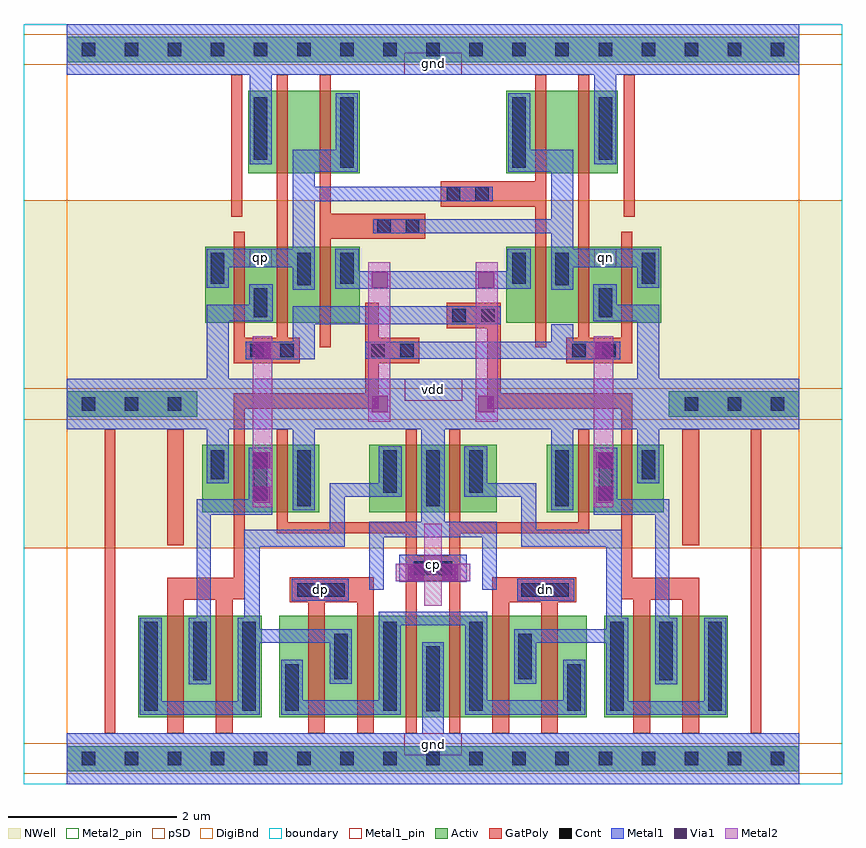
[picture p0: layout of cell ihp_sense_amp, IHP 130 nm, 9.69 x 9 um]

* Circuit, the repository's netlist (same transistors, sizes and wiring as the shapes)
* ------------------------------------------------------
*
*		Copyright 2025 IHP PDK Authors
*
*		Licensed under the Apache License, Version 2.0 (the "License");
*		you may not use this file except in compliance with the License.
*		You may obtain a copy of the License at
*
*		   https://www.apache.org/licenses/LICENSE-2.0
*
*		Unless required by applicable law or agreed to in writing, software
*		distributed under the License is distributed on an "AS IS" BASIS,
*		WITHOUT WARRANTIES OR CONDITIONS OF ANY KIND, either express or implied.
*		See the License for the specific language governing permissions and
*		limitations under the License.
*
*		Generated on Thu Jul 30 11:38:32 2026
*
* ------------------------------------------------------
* Flattened from RSC_IHPSG13_DFPQD_MSAFFX2; unchanged W/L/m.
.subckt ihp_sense_amp cp dn dp qn qp vdd gnd
Xinternal_MN12 internal_SN internal_RN internal_DIFFP gnd sg13_lv_nmos w=2.4u l=200.0n m=1
Xinternal_MN13 internal_TAIL cp gnd gnd sg13_lv_nmos w=2.4u l=130.00n m=1
Xinternal_MN9 internal_DIFFP dp internal_TAIL gnd sg13_lv_nmos w=2.4u l=200.0n m=1
Xinternal_MN10 internal_DIFFN dn internal_TAIL gnd sg13_lv_nmos w=2.4u l=200.0n m=1
Xinternal_MN11 internal_RN internal_SN internal_DIFFN gnd sg13_lv_nmos w=2.4u l=200.0n m=1
Xinternal_MN19 internal_net33 internal_SN gnd gnd sg13_lv_nmos w=980.00n l=130.00n m=1
Xinternal_MN20 qn qp internal_net37 gnd sg13_lv_nmos w=980.00n l=130.00n m=1
Xinternal_MN18 internal_net37 internal_RN gnd gnd sg13_lv_nmos w=980.00n l=130.00n m=1
Xinternal_MN17 qp qn internal_net33 gnd sg13_lv_nmos w=980.00n l=130.00n m=1
Xinternal_MP15 internal_SN internal_RN vdd vdd sg13_lv_pmos w=800.0n l=130.00n m=1
Xinternal_MP16 internal_RN cp vdd vdd sg13_lv_pmos w=800.0n l=130.00n m=1
Xinternal_MP14 internal_DIFFP cp vdd vdd sg13_lv_pmos w=800.0n l=130.00n m=1
Xinternal_MP12 internal_RN internal_SN vdd vdd sg13_lv_pmos w=800.0n l=130.00n m=1
Xinternal_MP13 internal_DIFFN cp vdd vdd sg13_lv_pmos w=800.0n l=130.00n m=1
Xinternal_MP11 internal_SN cp vdd vdd sg13_lv_pmos w=800.0n l=130.00n m=1
Xinternal_MP19 qn qp vdd vdd sg13_lv_pmos w=900.0n l=130.00n m=1
Xinternal_MP20 qp internal_SN vdd vdd sg13_lv_pmos w=1.8u l=130.00n m=1
Xinternal_MP18 qn internal_RN vdd vdd sg13_lv_pmos w=1.8u l=130.00n m=1
Xinternal_MP17 qp qn vdd vdd sg13_lv_pmos w=900.0n l=130.00n m=1
.ends ihp_sense_amp

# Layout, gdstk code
import gdstk
lib = gdstk.Library(unit=1e-6, precision=1e-09)
def R(c, l, rs):  # rectangles x0, y0, x1, y1
    for r in rs: c.add(gdstk.rectangle(r[:2], r[2:], *l))
def A(c, l, x, y, w, h, nx, ny, dx, dy):  # array of equal rectangles
    R(c, l, [(x+i*dx, y+j*dy, x+i*dx+w, y+j*dy+h) for i in range(nx) for j in range(ny)])
def P(c, l, *ps):  # polygons
    for p in ps: c.add(gdstk.Polygon(p, *l))
Activ = (1, 0)
GatPoly = (5, 0)
Cont = (6, 0)
Metal1 = (8, 0)
Metal1_pin = (8, 2)
Metal2 = (10, 0)
Metal2_pin = (10, 2)
pSD = (14, 0)
DigiBnd = (16, 0)
Via1 = (19, 0)
NWell = (31, 0)
boundary = (189, 4)

ihp_sense_amp = lib.new_cell('ihp_sense_amp')
R(ihp_sense_amp, Activ, [(0.51,0.15,9.18,0.45), (1.355,0.79,2.815,1.99), (3.025,0.79,6.665,1.99), (6.875,0.79,8.335,1.99), (2.11,3.22,3.5,4.02), (4.09,3.22,5.6,4.02), (6.19,3.22,7.58,4.02), (0.51,4.35,2.055,4.65), (7.635,4.35,9.18,4.65), (2.145,5.46,3.975,6.36), (5.715,5.46,7.545,6.36), (2.655,7.23,3.975,8.21), (5.715,7.23,7.035,8.21), (0.51,8.55,9.18,8.85)])
R(ihp_sense_amp, GatPoly, [(0.955,0.6,1.085,4.2), (8.605,0.6,8.735,4.2), (1.695,2.825,1.895,4.2), (7.795,2.825,7.995,4.2), (2.455,6.72,2.585,8.4), (7.105,6.72,7.235,8.4)])
P(ihp_sense_amp, GatPoly, [(3.365,0.6),(3.365,2.15),(3.15,2.15),(3.15,2.45),(4.145,2.45),(4.145,0.6),(3.945,0.6),(3.945,2.15),(3.565,2.15),(3.565,0.6)],
  [(5.545,0.6),(5.545,2.45),(6.54,2.45),(6.54,2.15),(6.325,2.15),(6.325,0.6),(6.125,0.6),(6.125,2.15),(5.745,2.15),(5.745,0.6)],
  [(4.525,0.6),(4.525,2.97),(2.995,2.97),(2.995,4.2),(3.125,4.2),(3.125,3.1),(4.525,3.1),(4.525,4.2),(4.655,4.2),(4.655,2.705),(5.035,2.705),(5.035,4.2),(5.165,4.2),(5.165,3.1),(6.565,3.1),(6.565,4.2),(6.695,4.2),(6.695,2.97),(5.165,2.97),(5.165,0.6),(5.035,0.6),(5.035,2.405),(4.655,2.405),(4.655,0.6)],
  [(1.695,0.6),(1.695,2.445),(2.485,2.445),(2.485,4.625),(4.045,4.625),(4.045,5.7),(4.205,5.7),(4.205,5.285),(4.685,5.285),(4.685,4.985),(4.205,4.985),(4.205,4.445),(2.615,4.445),(2.615,2.19),(2.475,2.19),(2.475,0.6),(2.275,0.6),(2.275,2.18),(1.895,2.18),(1.895,0.6)],
  [(7.215,0.6),(7.215,2.19),(7.075,2.19),(7.075,4.445),(5.485,4.445),(5.485,5.4),(5.005,5.4),(5.005,5.7),(5.645,5.7),(5.645,4.625),(7.205,4.625),(7.205,2.445),(7.995,2.445),(7.995,0.6),(7.795,0.6),(7.795,2.18),(7.415,2.18),(7.415,0.6)],
  [(2.485,4.985),(2.485,6.54),(2.615,6.54),(2.615,5.285),(2.995,5.285),(2.995,8.4),(3.125,8.4),(3.125,5.285),(3.265,5.285),(3.265,4.985)],
  [(3.505,5.175),(3.505,8.4),(3.635,8.4),(3.635,6.755),(4.755,6.755),(4.755,6.455),(3.635,6.455),(3.635,5.175)],
  [(6.055,5.175),(6.055,6.835),(4.935,6.835),(4.935,7.135),(6.055,7.135),(6.055,8.4),(6.185,8.4),(6.185,5.175)],
  [(6.425,4.985),(6.425,5.285),(6.565,5.285),(6.565,8.4),(6.695,8.4),(6.695,5.285),(7.075,5.285),(7.075,6.54),(7.205,6.54),(7.205,4.985)])
A(ihp_sense_amp, Cont, 0.685, 0.22, 0.16, 0.16, 17, 2, 0.51, 8.4)
A(ihp_sense_amp, Cont, 3.235, 3.29, 0.16, 0.66, 3, 1, 1.53, 0)
A(ihp_sense_amp, Cont, 0.685, 4.42, 0.16, 0.16, 3, 1, 0.51, 0)
A(ihp_sense_amp, Cont, 7.825, 4.42, 0.16, 0.16, 3, 1, 0.51, 0)
R(ihp_sense_amp, Cont, [(4.765,0.86,4.925,1.63), (1.425,0.87,1.585,1.92), (2.585,0.87,2.745,1.92), (3.095,0.87,3.255,1.42), (4.255,0.87,4.415,1.92), (5.275,0.87,5.435,1.92), (6.435,0.87,6.595,1.42), (6.945,0.87,7.105,1.92), (8.105,0.87,8.265,1.92), (2.005,1.23,2.165,1.92), (7.525,1.23,7.685,1.92), (3.675,1.24,3.835,1.78), (5.855,1.24,6.015,1.78), (3.235,2.22,3.8,2.38), (5.89,2.22,6.455,2.38), (4.615,2.475,5.075,2.635), (2.725,3.355,2.885,3.93), (6.805,3.355,6.965,3.93), (4.255,3.45,4.415,3.95), (5.275,3.45,5.435,3.95), (2.215,3.61,2.375,3.95), (7.315,3.61,7.475,3.95), (2.68,5.055,2.84,5.215), (3.035,5.055,3.195,5.215), (4.115,5.055,4.275,5.215), (4.455,5.055,4.615,5.215), (6.495,5.055,6.655,5.215), (6.85,5.055,7.01,5.215), (5.075,5.47,5.235,5.63), (5.415,5.47,5.575,5.63), (2.725,5.53,2.885,5.87), (6.805,5.53,6.965,5.87), (3.235,5.905,3.395,6.29), (6.295,5.905,6.455,6.29), (2.215,5.925,2.375,6.29), (3.745,5.925,3.905,6.29), (5.785,5.925,5.945,6.29), (7.315,5.925,7.475,6.29), (4.185,6.525,4.345,6.685), (4.525,6.525,4.685,6.685), (5.005,6.905,5.165,7.065), (5.345,6.905,5.505,7.065), (3.745,7.3,3.905,8.13), (5.785,7.3,5.945,8.13), (2.725,7.39,2.885,8.13), (6.805,7.39,6.965,8.13)])
A(ihp_sense_amp, Metal1, 0.51, 0, 8.67, 0.6, 1, 3, 0, 4.2)
R(ihp_sense_amp, Metal1, [(4.715,0.6,4.975,1.68), (1.375,0.82,2.795,0.98), (3.045,0.82,4.465,0.99), (5.225,0.82,6.645,0.99), (6.895,0.82,8.315,0.98), (1.375,0.98,1.635,1.97), (2.535,0.98,2.795,1.67), (6.895,0.98,7.155,1.67), (8.055,0.98,8.315,1.97), (3.045,0.99,3.305,1.47), (4.205,0.99,4.465,1.88), (5.225,0.99,5.485,1.88), (6.385,0.99,6.645,1.47), (1.955,1.18,2.215,1.97), (7.475,1.18,7.735,1.97), (3.625,1.19,3.885,1.67), (5.805,1.19,6.065,1.67), (2.535,1.67,3.885,1.83), (5.805,1.67,7.155,1.83), (2.535,1.83,2.795,1.97), (6.895,1.83,7.155,1.97), (4.205,1.88,5.485,2.04), (2.05,1.97,2.215,3.19), (2.61,1.97,2.795,2.81), (6.895,1.97,7.08,2.81), (7.475,1.97,7.64,3.19), (3.17,2.17,3.85,2.43), (5.84,2.17,6.52,2.43), (4.09,2.3,4.26,2.925), (5.43,2.3,5.6,2.925), (4.445,2.395,5.245,2.715), (2.61,2.81,3.8,3.01), (5.89,2.81,7.08,3.01), (4.09,2.925,5.6,3.105), (3.625,3.01,3.8,3.4), (5.89,3.01,6.065,3.4), (4.705,3.105,4.985,4.2), (2.05,3.19,2.94,3.37), (6.75,3.19,7.64,3.37), (3.185,3.24,3.445,4.2), (6.245,3.24,6.505,4.2), (2.665,3.37,2.94,3.98), (6.75,3.37,7.025,3.98), (3.625,3.4,4.475,3.56), (5.215,3.4,6.065,3.56), (2.165,3.56,2.425,4.2), (4.205,3.56,4.475,4), (5.215,3.56,5.485,4), (7.265,3.56,7.525,4.2), (2.165,4.8,2.425,5.48), (7.265,4.8,7.525,5.48), (2.63,5.03,3.445,5.24), (6.245,5.03,7.06,5.035), (4.045,5.035,7.06,5.235), (6.245,5.235,7.06,5.24), (3.185,5.24,3.445,5.445), (6.245,5.24,6.505,5.445), (3.185,5.445,5.645,5.655), (2.165,5.48,2.945,5.675), (6.745,5.48,7.525,5.675), (2.67,5.675,2.945,5.92), (6.745,5.675,7.02,5.92), (3.185,5.855,3.445,6.12), (6.245,5.855,6.505,6.12), (3.685,5.865,6.005,6.075), (2.165,5.875,2.425,6.12), (7.265,5.875,7.525,6.12), (3.685,6.075,3.965,6.34), (5.725,6.075,6.005,6.34), (2.165,6.12,3.445,6.34), (6.245,6.12,7.525,6.34), (3.185,6.34,3.445,6.9), (6.245,6.34,6.505,6.52), (4.135,6.52,6.505,6.69), (6.245,6.69,6.505,7.25), (3.185,6.9,5.555,7.07), (3.185,7.07,3.445,7.25), (3.185,7.25,3.955,7.51), (5.735,7.25,6.505,7.51), (2.675,7.34,2.935,8.4), (6.755,7.34,7.015,8.4), (3.695,7.51,3.955,8.18), (5.735,7.51,5.995,8.18)])
R(ihp_sense_amp, Metal1_pin, [(4.505,0.34,5.185,0.6), (3.17,2.17,3.85,2.43), (5.84,2.17,6.52,2.43), (4.51,4.54,5.19,4.8), (2.675,6.12,2.935,6.34), (6.755,6.12,7.015,6.34), (4.505,8.4,5.185,8.66)])
R(ihp_sense_amp, Metal2, [(4.74,2.11,4.95,2.4), (4.405,2.4,5.285,2.61), (4.74,2.61,4.95,3.08), (2.71,3.28,2.94,5.3), (6.75,3.28,6.98,5.3), (4.08,4.29,4.34,6.18), (5.35,4.29,5.61,6.18)])
R(ihp_sense_amp, Metal2_pin, [(4.74,2.11,4.95,3.08)])
R(ihp_sense_amp, pSD, [(0,0.12,9.69,0.48), (0,2.79,9.69,4.32), (0,4.68,9.69,6.915), (0,8.52,9.69,8.88)])
R(ihp_sense_amp, DigiBnd, [(0.51,0,9.18,9)])
R(ihp_sense_amp, Via1, [(4.545,2.41,4.735,2.6), (4.955,2.41,5.145,2.6), (2.73,3.33,2.92,3.52), (6.77,3.33,6.96,3.52), (2.73,3.74,2.92,3.93), (6.77,3.74,6.96,3.93), (4.12,4.405,4.31,4.595), (5.38,4.405,5.57,4.595), (2.735,5.04,2.925,5.23), (6.765,5.04,6.955,5.23), (4.12,5.875,4.31,6.065), (5.38,5.875,5.57,6.065)])
R(ihp_sense_amp, NWell, [(0,2.79,9.69,6.915)])
R(ihp_sense_amp, boundary, [(0,0,9.69,9)])
ihp_sense_amp.add(gdstk.Label('cp', (4.845,2.595), layer=10, texttype=25))
ihp_sense_amp.add(gdstk.Label('qn', (6.885,6.235), layer=8, texttype=25))
ihp_sense_amp.add(gdstk.Label('qp', (2.805,6.23), layer=8, texttype=25))
ihp_sense_amp.add(gdstk.Label('dn', (6.18,2.3), layer=8, texttype=25))
ihp_sense_amp.add(gdstk.Label('dp', (3.51,2.3), layer=8, texttype=25))
ihp_sense_amp.add(gdstk.Label('gnd', (4.845,0.47), layer=8, texttype=25))
ihp_sense_amp.add(gdstk.Label('vdd', (4.85,4.67), layer=8, texttype=25))
ihp_sense_amp.add(gdstk.Label('gnd', (4.845,8.53), layer=8, texttype=25))

lib.write_gds('ihp_sense_amp.gds')
